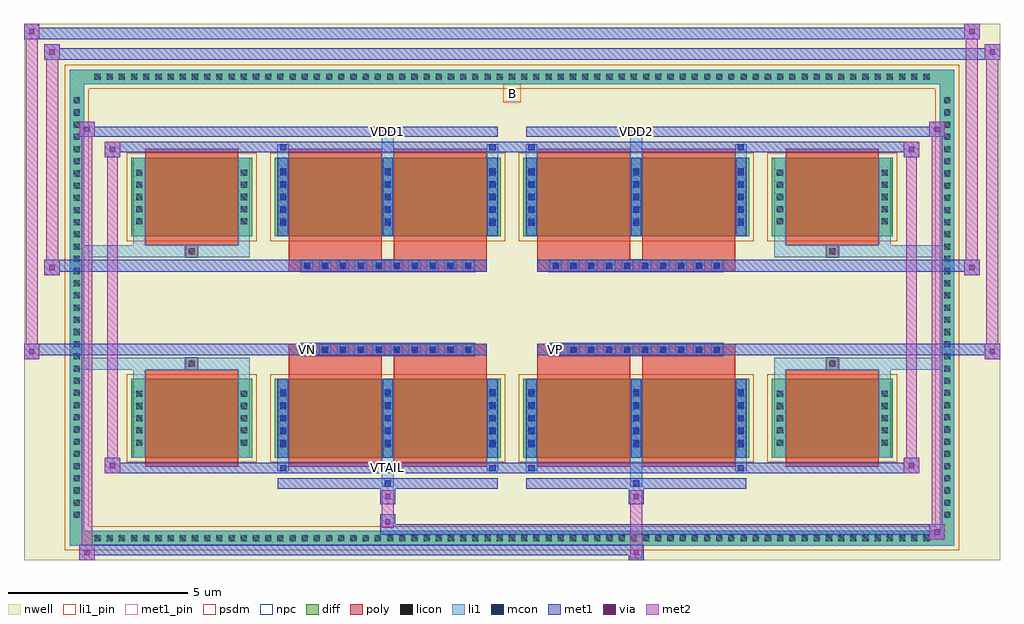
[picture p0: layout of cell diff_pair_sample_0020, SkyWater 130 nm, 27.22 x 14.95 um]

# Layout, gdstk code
import gdstk
lib = gdstk.Library(unit=1e-6, precision=5e-09)
def R(c, l, rs):  # rectangles x0, y0, x1, y1
    for r in rs: c.add(gdstk.rectangle(r[:2], r[2:], *l))
def A(c, l, x, y, w, h, nx, ny, dx, dy):  # array of equal rectangles
    R(c, l, [(x+i*dx, y+j*dy, x+i*dx+w, y+j*dy+h) for i in range(nx) for j in range(ny)])
def P(c, l, *ps):  # polygons
    for p in ps: c.add(gdstk.Polygon(p, *l))
nwell = (64, 20)
diff = (65, 20)
poly = (66, 20)
licon = (66, 44)
li1_pin = (67, 16)
li1 = (67, 20)
mcon = (67, 44)
met1_pin = (68, 16)
met1 = (68, 20)
via = (68, 44)
met2 = (69, 20)
psdm = (94, 20)
npc = (95, 20)

diff_pair_sample_0020 = lib.new_cell('diff_pair_sample_0020')
R(diff_pair_sample_0020, nwell, [(-13.61,-7.04,13.61,7.91), (-10.93,-5.23,-0.01,-0.805), (0.01,-5.23,10.93,-0.805), (-10.93,0.805,-0.01,5.23), (0.01,0.805,10.93,5.23)])
A(diff_pair_sample_0020, diff, -11.765, -6.64, 0.41, 0.41, 69, 2, 0.34, 12.87)
A(diff_pair_sample_0020, diff, -12.34, -5.985, 0.41, 0.41, 1, 35, 0, 0.34)
A(diff_pair_sample_0020, diff, 11.93, -5.985, 0.41, 0.41, 1, 35, 0, 0.34)
R(diff_pair_sample_0020, diff, [(-11.765,-6.64,11.765,-6.23), (-12.34,-5.985,-11.93,5.985), (11.93,-5.985,12.34,5.985), (-10.62,-4.185,-7.25,-1.985), (-6.61,-4.185,-0.32,-1.985), (0.32,-4.185,6.61,-1.985), (7.25,-4.185,10.62,-1.985), (-10.62,1.985,-7.25,4.185), (-6.61,1.985,-0.32,4.185), (0.32,1.985,6.61,4.185), (7.25,1.985,10.62,4.185), (-11.765,6.23,11.765,6.64)])
P(diff_pair_sample_0020, diff, [(12.34,6.64),(-12.34,6.64),(-12.34,-6.23),(-11.93,-6.23),(-11.93,6.23),(11.93,6.23),(11.93,-6.23),(-11.93,-6.23),(-12.34,-6.23),(-12.34,-6.64),(12.34,-6.64)])
A(diff_pair_sample_0020, poly, -5.88, -1.335, 0.33, 0.33, 10, 2, 0.5, 2.34)
A(diff_pair_sample_0020, poly, 1.05, -1.335, 0.33, 0.33, 10, 2, 0.5, 2.34)
R(diff_pair_sample_0020, poly, [(-10.23,-4.435,-7.64,-1.735), (-6.22,-4.435,-3.63,-1.735), (-3.3,-4.435,-0.71,-1.735), (0.71,-4.435,3.3,-1.735), (3.63,-4.435,6.22,-1.735), (7.64,-4.435,10.23,-1.735), (-9.1,-1.735,-8.77,-1.405), (-9.1,-1.735,-8.77,-1.405), (-6.22,-1.735,-3.63,-1.335), (-3.3,-1.735,-0.71,-1.335), (0.71,-1.735,3.3,-1.335), (3.63,-1.735,6.22,-1.335), (8.77,-1.735,9.1,-1.405), (8.77,-1.735,9.1,-1.405), (-6.22,-1.335,-0.71,-1.005), (0.71,-1.335,6.22,-1.005), (-6.22,1.005,-0.71,1.335), (0.71,1.005,6.22,1.335), (-6.22,1.335,-3.63,1.735), (-3.3,1.335,-0.71,1.735), (0.71,1.335,3.3,1.735), (3.63,1.335,6.22,1.735), (-9.1,1.405,-8.77,1.735), (-9.1,1.405,-8.77,1.735), (8.77,1.405,9.1,1.735), (8.77,1.405,9.1,1.735), (-10.23,1.735,-7.64,4.435), (-6.22,1.735,-3.63,4.435), (-3.3,1.735,-0.71,4.435), (0.71,1.735,3.3,4.435), (3.63,1.735,6.22,4.435), (7.64,1.735,10.23,4.435)])
A(diff_pair_sample_0020, licon, -11.645, -6.52, 0.17, 0.17, 69, 2, 0.34, 12.87)
A(diff_pair_sample_0020, licon, -12.22, -5.865, 0.17, 0.17, 1, 35, 0, 0.34)
A(diff_pair_sample_0020, licon, 12.05, -5.865, 0.17, 0.17, 1, 35, 0, 0.34)
A(diff_pair_sample_0020, licon, -10.48, -3.85, 0.17, 0.17, 1, 5, 0, 0.34)
A(diff_pair_sample_0020, licon, -7.56, -3.85, 0.17, 0.17, 1, 5, 0, 0.34)
A(diff_pair_sample_0020, licon, -6.47, -3.85, 0.17, 0.17, 3, 5, 2.92, 0.34)
A(diff_pair_sample_0020, licon, 0.46, -3.85, 0.17, 0.17, 3, 5, 2.92, 0.34)
A(diff_pair_sample_0020, licon, 7.39, -3.85, 0.17, 0.17, 1, 5, 0, 0.34)
A(diff_pair_sample_0020, licon, 10.31, -3.85, 0.17, 0.17, 1, 5, 0, 0.34)
A(diff_pair_sample_0020, licon, -5.8, -1.255, 0.17, 0.17, 10, 2, 0.5, 2.34)
A(diff_pair_sample_0020, licon, 1.13, -1.255, 0.17, 0.17, 10, 2, 0.5, 2.34)
A(diff_pair_sample_0020, licon, -10.48, 2.32, 0.17, 0.17, 1, 5, 0, 0.34)
A(diff_pair_sample_0020, licon, -7.56, 2.32, 0.17, 0.17, 1, 5, 0, 0.34)
A(diff_pair_sample_0020, licon, -6.47, 2.32, 0.17, 0.17, 3, 5, 2.92, 0.34)
A(diff_pair_sample_0020, licon, 0.46, 2.32, 0.17, 0.17, 3, 5, 2.92, 0.34)
A(diff_pair_sample_0020, licon, 7.39, 2.32, 0.17, 0.17, 1, 5, 0, 0.34)
A(diff_pair_sample_0020, licon, 10.31, 2.32, 0.17, 0.17, 1, 5, 0, 0.34)
R(diff_pair_sample_0020, licon, [(-9.02,-1.655,-8.85,-1.485), (8.85,-1.655,9.02,-1.485), (-9.02,1.485,-8.85,1.655), (8.85,1.485,9.02,1.655)])
R(diff_pair_sample_0020, li1_pin, [(-0.25,5.73,0.25,6.23)])
A(diff_pair_sample_0020, li1, -11.725, -6.6, 0.33, 0.33, 69, 2, 0.34, 12.87)
A(diff_pair_sample_0020, li1, -12.3, -5.945, 0.33, 0.33, 1, 35, 0, 0.34)
A(diff_pair_sample_0020, li1, 11.97, -5.945, 0.33, 0.33, 1, 35, 0, 0.34)
A(diff_pair_sample_0020, li1, -6.55, -4.185, 0.33, 2.2, 3, 2, 2.92, 6.17)
A(diff_pair_sample_0020, li1, 0.38, -4.185, 0.33, 2.2, 3, 2, 2.92, 6.17)
A(diff_pair_sample_0020, li1, -10.56, -3.93, 0.33, 0.33, 1, 5, 0, 0.34)
A(diff_pair_sample_0020, li1, -7.64, -3.93, 0.33, 0.33, 1, 5, 0, 0.34)
A(diff_pair_sample_0020, li1, -6.55, -3.93, 0.33, 0.33, 3, 5, 2.92, 0.34)
A(diff_pair_sample_0020, li1, 0.38, -3.93, 0.33, 0.33, 3, 5, 2.92, 0.34)
A(diff_pair_sample_0020, li1, 7.31, -3.93, 0.33, 0.33, 1, 5, 0, 0.34)
A(diff_pair_sample_0020, li1, 10.23, -3.93, 0.33, 0.33, 1, 5, 0, 0.34)
A(diff_pair_sample_0020, li1, -6.47, -3.89, 0.17, 0.17, 3, 5, 2.92, 0.36)
A(diff_pair_sample_0020, li1, -6.47, -3.89, 0.17, 1.61, 3, 2, 2.92, 6.17)
A(diff_pair_sample_0020, li1, 0.46, -3.89, 0.17, 0.17, 3, 5, 2.92, 0.36)
A(diff_pair_sample_0020, li1, 0.46, -3.89, 0.17, 1.61, 3, 2, 2.92, 6.17)
A(diff_pair_sample_0020, li1, -5.88, -1.335, 0.33, 0.33, 10, 2, 0.5, 2.34)
A(diff_pair_sample_0020, li1, 1.05, -1.335, 0.33, 0.33, 10, 2, 0.5, 2.34)
A(diff_pair_sample_0020, li1, -10.56, 2.24, 0.33, 0.33, 1, 5, 0, 0.34)
A(diff_pair_sample_0020, li1, -7.64, 2.24, 0.33, 0.33, 1, 5, 0, 0.34)
A(diff_pair_sample_0020, li1, -6.55, 2.24, 0.33, 0.33, 3, 5, 2.92, 0.34)
A(diff_pair_sample_0020, li1, 0.38, 2.24, 0.33, 0.33, 3, 5, 2.92, 0.34)
A(diff_pair_sample_0020, li1, 7.31, 2.24, 0.33, 0.33, 1, 5, 0, 0.34)
A(diff_pair_sample_0020, li1, 10.23, 2.24, 0.33, 0.33, 1, 5, 0, 0.34)
A(diff_pair_sample_0020, li1, -6.47, 2.28, 0.17, 0.17, 3, 5, 2.92, 0.36)
A(diff_pair_sample_0020, li1, 0.46, 2.28, 0.17, 0.17, 3, 5, 2.92, 0.36)
R(diff_pair_sample_0020, li1, [(-12.34,-6.64,-11.93,-6.23), (-12.34,-6.64,-11.93,-6.23), (-11.93,-6.64,11.93,-6.23), (11.93,-6.64,12.34,-6.23), (11.93,-6.64,12.34,-6.23), (-12.34,-6.23,-11.93,6.23), (11.93,-6.23,12.34,6.23), (-3.63,-4.99,-3.3,-4.185), (-3.55,-4.99,-3.38,-4.82), (3.3,-4.99,3.63,-4.185), (3.38,-4.99,3.55,-4.82), (-6.55,-4.56,-6.22,-4.185), (-6.47,-4.56,-6.3,-4.39), (-0.71,-4.56,-0.38,-4.185), (-0.63,-4.56,-0.46,-4.39), (0.38,-4.56,0.71,-4.185), (0.46,-4.56,0.63,-4.39), (6.22,-4.56,6.55,-4.185), (6.3,-4.56,6.47,-4.39), (-10.56,-4.185,-10.23,-1.985), (-7.64,-4.185,-7.31,-1.985), (7.31,-4.185,7.64,-1.985), (10.23,-4.185,10.56,-1.985), (-10.56,-1.985,-10.23,-1.405), (-7.64,-1.985,-7.31,-1.405), (7.31,-1.985,7.64,-1.405), (10.23,-1.985,10.56,-1.405), (-12.34,-1.735,-9.1,-1.405), (-10.56,-1.735,-9.1,-1.405), (-9.1,-1.735,-8.77,-1.405), (-8.77,-1.735,-7.31,-1.405), (7.31,-1.735,8.77,-1.405), (8.77,-1.735,9.1,-1.405), (8.77,-1.735,12.34,-1.405), (9.1,-1.735,10.56,-1.405), (-12.34,1.405,-9.1,1.735), (-10.56,1.405,-9.1,1.735), (-10.56,1.405,-10.23,1.985), (-9.1,1.405,-8.77,1.735), (-8.77,1.405,-7.31,1.735), (-7.64,1.405,-7.31,1.985), (7.31,1.405,8.77,1.735), (7.31,1.405,7.64,1.985), (8.77,1.405,9.1,1.735), (8.77,1.405,12.34,1.735), (9.1,1.405,10.56,1.735), (10.23,1.405,10.56,1.985), (-10.56,1.985,-10.23,4.185), (-7.64,1.985,-7.31,4.185), (7.31,1.985,7.64,4.185), (10.23,1.985,10.56,4.185), (-6.55,4.185,-6.22,4.56), (-3.63,4.185,-3.3,4.99), (-0.71,4.185,-0.38,4.56), (0.38,4.185,0.71,4.56), (3.3,4.185,3.63,4.99), (6.22,4.185,6.55,4.56), (-6.47,4.39,-6.3,4.56), (-0.63,4.39,-0.46,4.56), (0.46,4.39,0.63,4.56), (6.3,4.39,6.47,4.56), (-3.55,4.82,-3.38,4.99), (3.38,4.82,3.55,4.99), (-12.34,6.23,-11.93,6.64), (-12.34,6.23,-11.93,6.64), (-11.93,6.23,11.93,6.64), (11.93,6.23,12.34,6.64), (11.93,6.23,12.34,6.64)])
A(diff_pair_sample_0020, mcon, -6.47, -3.89, 0.17, 0.17, 3, 5, 2.92, 0.36)
A(diff_pair_sample_0020, mcon, 0.46, -3.89, 0.17, 0.17, 3, 5, 2.92, 0.36)
A(diff_pair_sample_0020, mcon, -5.8, -1.255, 0.17, 0.17, 10, 2, 0.5, 2.34)
A(diff_pair_sample_0020, mcon, 1.13, -1.255, 0.17, 0.17, 10, 2, 0.5, 2.34)
A(diff_pair_sample_0020, mcon, -6.47, 2.28, 0.17, 0.17, 3, 5, 2.92, 0.36)
A(diff_pair_sample_0020, mcon, 0.46, 2.28, 0.17, 0.17, 3, 5, 2.92, 0.36)
R(diff_pair_sample_0020, mcon, [(-3.55,-4.99,-3.38,-4.82), (3.38,-4.99,3.55,-4.82), (-6.47,-4.56,-6.3,-4.39), (-0.63,-4.56,-0.46,-4.39), (0.46,-4.56,0.63,-4.39), (6.3,-4.56,6.47,-4.39), (-6.47,4.39,-6.3,4.56), (-0.63,4.39,-0.46,4.56), (0.46,4.39,0.63,4.56), (6.3,4.39,6.47,4.56), (-3.55,4.82,-3.38,4.99), (3.38,4.82,3.55,4.99)])
R(diff_pair_sample_0020, met1_pin, [(-3.6,-4.6,-3.33,-4.33), (-5.85,-1.295,-5.58,-1.025), (1.08,-1.295,1.35,-1.025), (-3.6,4.78,-3.33,5.05), (3.33,4.78,3.6,5.05)])
A(diff_pair_sample_0020, met1, -6.53, -4.185, 0.29, 2.2, 3, 2, 2.92, 6.17)
A(diff_pair_sample_0020, met1, 0.4, -4.185, 0.29, 2.2, 3, 2, 2.92, 6.17)
A(diff_pair_sample_0020, met1, -6.53, -3.95, 0.29, 0.29, 3, 5, 2.92, 0.36)
A(diff_pair_sample_0020, met1, 0.4, -3.95, 0.29, 0.29, 3, 5, 2.92, 0.36)
A(diff_pair_sample_0020, met1, -5.86, -1.315, 0.29, 0.29, 10, 2, 0.5, 2.34)
A(diff_pair_sample_0020, met1, 1.07, -1.315, 0.29, 0.29, 10, 2, 0.5, 2.34)
A(diff_pair_sample_0020, met1, -6.53, 2.22, 0.29, 0.29, 3, 5, 2.92, 0.36)
A(diff_pair_sample_0020, met1, 0.4, 2.22, 0.29, 0.29, 3, 5, 2.92, 0.36)
R(diff_pair_sample_0020, met1, [(-12.07,-7.04,-11.64,-6.61), (3.25,-7.04,3.68,-6.61), (-12.07,-6.9,3.68,-6.61), (11.64,-6.47,12.07,-6.04), (-3.68,-6.33,12.07,-6.04), (-3.68,-6.19,-3.25,-5.76), (-3.68,-5.48,-3.25,-5.05), (3.25,-5.48,3.68,-5.05), (-6.53,-5.05,-0.4,-4.76), (-3.61,-5.05,-3.32,-4.76), (0.4,-5.05,6.53,-4.76), (3.32,-5.05,3.61,-4.76), (-11.36,-4.62,-10.93,-4.19), (-11.36,-4.62,-6.53,-4.33), (-6.53,-4.62,-6.24,-4.33), (-6.53,-4.62,-0.4,-4.33), (-0.69,-4.62,-0.4,-4.33), (-0.4,-4.62,0.4,-4.33), (0.4,-4.62,0.69,-4.33), (0.4,-4.62,6.53,-4.33), (6.24,-4.62,6.53,-4.33), (6.53,-4.62,11.36,-4.33), (10.93,-4.62,11.36,-4.19), (-13.61,-1.435,-13.18,-1.005), (13.18,-1.435,13.61,-1.005), (-13.61,-1.335,-0.71,-1.005), (-6.22,-1.335,-0.71,-1.005), (0.71,-1.335,6.22,-1.005), (0.71,-1.335,13.61,-1.005), (-13.04,0.905,-12.61,1.335), (12.61,0.905,13.04,1.335), (-13.04,1.005,-6.22,1.335), (-6.22,1.005,-0.71,1.335), (0.71,1.005,6.22,1.335), (6.22,1.005,13.04,1.335), (-11.36,4.19,-10.93,4.62), (10.93,4.19,11.36,4.62), (-11.36,4.33,-6.53,4.62), (-6.53,4.33,-6.24,4.62), (-6.53,4.33,-0.4,4.62), (-0.69,4.33,-0.4,4.62), (-0.4,4.33,0.4,4.62), (0.4,4.33,0.69,4.62), (0.4,4.33,6.53,4.62), (6.24,4.33,6.53,4.62), (6.53,4.33,11.36,4.62), (-12.07,4.76,-11.64,5.19), (-12.07,4.76,-6.53,5.05), (-6.53,4.76,-0.4,5.05), (-3.61,4.76,-3.32,5.05), (0.4,4.76,6.53,5.05), (3.32,4.76,3.61,5.05), (6.53,4.76,12.07,5.05), (11.64,4.76,12.07,5.19), (-13.04,6.91,-12.61,7.34), (-13.04,6.91,-10.93,7.24), (-10.93,6.91,10.93,7.24), (10.93,6.91,13.61,7.24), (13.18,6.91,13.61,7.34), (-13.61,7.48,-13.18,7.91), (-13.61,7.48,-10.93,7.81), (-10.93,7.48,10.93,7.81), (10.93,7.48,13.04,7.81), (12.61,7.48,13.04,7.91)])
R(diff_pair_sample_0020, via, [(-11.93,-6.9,-11.78,-6.75), (3.39,-6.9,3.54,-6.75), (11.78,-6.33,11.93,-6.18), (-3.54,-6.05,-3.39,-5.9), (-3.54,-5.34,-3.39,-5.19), (3.39,-5.34,3.54,-5.19), (-11.22,-4.48,-11.07,-4.33), (11.07,-4.48,11.22,-4.33), (-13.47,-1.295,-13.32,-1.145), (13.32,-1.295,13.47,-1.145), (-12.9,1.045,-12.75,1.195), (12.75,1.045,12.9,1.195), (-11.22,4.33,-11.07,4.48), (11.07,4.33,11.22,4.48), (-11.93,4.9,-11.78,5.05), (11.78,4.9,11.93,5.05), (-12.9,7.05,-12.75,7.2), (13.32,7.05,13.47,7.2), (-13.47,7.62,-13.32,7.77), (12.75,7.62,12.9,7.77)])
R(diff_pair_sample_0020, met2, [(-12.07,-7.04,-11.64,-6.61), (-12,-7.04,-11.71,5.19), (-11.71,-7.04,-11.64,-6.61), (-12.02,-6.99,-11.69,-6.66), (3.3,-6.99,3.63,-6.66), (3.3,-6.66,3.63,-5.43), (11.64,-6.47,12.07,-6.04), (11.71,-6.47,12,5.19), (12,-6.47,12.07,-6.04), (11.69,-6.42,12.02,-6.09), (-3.63,-6.14,-3.3,-5.81), (-3.63,-5.81,-3.3,-5.43), (-3.63,-5.43,-3.3,-5.1), (3.3,-5.43,3.63,-5.1), (-11.36,-4.62,-10.93,-4.19), (-11.29,-4.62,-11,4.62), (-11,-4.62,-10.93,-4.19), (10.93,-4.62,11.36,-4.19), (11,-4.62,11.29,4.62), (11.29,-4.62,11.36,-4.19), (-11.31,-4.57,-10.98,-4.24), (10.98,-4.57,11.31,-4.24), (-13.61,-1.435,-13.18,-1.005), (-13.56,-1.435,-13.23,7.91), (-13.23,-1.435,-13.18,-1.005), (13.18,-1.435,13.61,-1.005), (13.23,-1.435,13.56,7.34), (13.56,-1.435,13.61,-1.005), (-13.56,-1.385,-13.23,-1.055), (13.23,-1.385,13.56,-1.055), (-13.04,0.905,-12.61,1.335), (-12.99,0.905,-12.66,7.34), (-12.66,0.905,-12.61,1.335), (12.61,0.905,13.04,1.335), (12.66,0.905,12.99,7.91), (12.99,0.905,13.04,1.335), (-12.99,0.955,-12.66,1.285), (12.66,0.955,12.99,1.285), (-11.36,4.19,-10.93,4.62), (-11,4.19,-10.93,4.62), (10.93,4.19,11.36,4.62), (11.29,4.19,11.36,4.62), (-11.31,4.24,-10.98,4.57), (10.98,4.24,11.31,4.57), (-12.07,4.76,-11.64,5.19), (-11.71,4.76,-11.64,5.19), (11.64,4.76,12.07,5.19), (12,4.76,12.07,5.19), (-12.02,4.81,-11.69,5.14), (11.69,4.81,12.02,5.14), (-13.04,6.91,-12.61,7.34), (-12.66,6.91,-12.61,7.34), (13.18,6.91,13.61,7.34), (13.56,6.91,13.61,7.34), (-12.99,6.96,-12.66,7.29), (13.23,6.96,13.56,7.29), (-13.61,7.48,-13.18,7.91), (-13.23,7.48,-13.18,7.91), (12.61,7.48,13.04,7.91), (12.99,7.48,13.04,7.91), (-13.56,7.53,-13.23,7.86), (12.66,7.53,12.99,7.86)])
R(diff_pair_sample_0020, psdm, [(-10.75,-4.315,-7.12,-1.855), (-6.74,-4.315,-0.19,-1.855), (0.19,-4.315,6.74,-1.855), (7.12,-4.315,10.75,-1.855), (-10.75,1.855,-7.12,4.315), (-6.74,1.855,-0.19,4.315), (0.19,1.855,6.74,4.315), (7.12,1.855,10.75,4.315)])
P(diff_pair_sample_0020, psdm, [(12.47,6.77),(-12.47,6.77),(-12.47,-6.1),(-11.8,-6.1),(-11.8,6.1),(11.8,6.1),(11.8,-6.1),(-11.8,-6.1),(-12.47,-6.1),(-12.47,-6.77),(12.47,-6.77)])
A(diff_pair_sample_0020, npc, -5.9, -1.355, 0.37, 0.37, 10, 2, 0.5, 2.34)
A(diff_pair_sample_0020, npc, 1.03, -1.355, 0.37, 0.37, 10, 2, 0.5, 2.34)
R(diff_pair_sample_0020, npc, [(-9.12,-1.755,-8.75,-1.385), (8.75,-1.755,9.12,-1.385), (-5.9,-1.355,-5.03,-0.985), (-5.9,-1.355,-5.03,-0.985), (-5.4,-1.355,-4.53,-0.985), (-5.4,-1.355,-4.53,-0.985), (-4.9,-1.355,-4.03,-0.985), (-4.9,-1.355,-4.03,-0.985), (-4.4,-1.355,-3.53,-0.985), (-4.4,-1.355,-3.53,-0.985), (-3.9,-1.355,-3.03,-0.985), (-3.9,-1.355,-3.03,-0.985), (-3.4,-1.355,-2.53,-0.985), (-3.4,-1.355,-2.53,-0.985), (-2.9,-1.355,-2.03,-0.985), (-2.9,-1.355,-2.03,-0.985), (-2.4,-1.355,-1.53,-0.985), (-2.4,-1.355,-1.53,-0.985), (-1.9,-1.355,-1.03,-0.985), (-1.9,-1.355,-1.03,-0.985), (1.03,-1.355,1.9,-0.985), (1.03,-1.355,1.9,-0.985), (1.53,-1.355,2.4,-0.985), (1.53,-1.355,2.4,-0.985), (2.03,-1.355,2.9,-0.985), (2.03,-1.355,2.9,-0.985), (2.53,-1.355,3.4,-0.985), (2.53,-1.355,3.4,-0.985), (3.03,-1.355,3.9,-0.985), (3.03,-1.355,3.9,-0.985), (3.53,-1.355,4.4,-0.985), (3.53,-1.355,4.4,-0.985), (4.03,-1.355,4.9,-0.985), (4.03,-1.355,4.9,-0.985), (4.53,-1.355,5.4,-0.985), (4.53,-1.355,5.4,-0.985), (5.03,-1.355,5.9,-0.985), (5.03,-1.355,5.9,-0.985), (-5.9,0.985,-5.03,1.355), (-5.9,0.985,-5.03,1.355), (-5.4,0.985,-4.53,1.355), (-5.4,0.985,-4.53,1.355), (-4.9,0.985,-4.03,1.355), (-4.9,0.985,-4.03,1.355), (-4.4,0.985,-3.53,1.355), (-4.4,0.985,-3.53,1.355), (-3.9,0.985,-3.03,1.355), (-3.9,0.985,-3.03,1.355), (-3.4,0.985,-2.53,1.355), (-3.4,0.985,-2.53,1.355), (-2.9,0.985,-2.03,1.355), (-2.9,0.985,-2.03,1.355), (-2.4,0.985,-1.53,1.355), (-2.4,0.985,-1.53,1.355), (-1.9,0.985,-1.03,1.355), (-1.9,0.985,-1.03,1.355), (1.03,0.985,1.9,1.355), (1.03,0.985,1.9,1.355), (1.53,0.985,2.4,1.355), (1.53,0.985,2.4,1.355), (2.03,0.985,2.9,1.355), (2.03,0.985,2.9,1.355), (2.53,0.985,3.4,1.355), (2.53,0.985,3.4,1.355), (3.03,0.985,3.9,1.355), (3.03,0.985,3.9,1.355), (3.53,0.985,4.4,1.355), (3.53,0.985,4.4,1.355), (4.03,0.985,4.9,1.355), (4.03,0.985,4.9,1.355), (4.53,0.985,5.4,1.355), (4.53,0.985,5.4,1.355), (5.03,0.985,5.9,1.355), (5.03,0.985,5.9,1.355), (-9.12,1.385,-8.75,1.755), (8.75,1.385,9.12,1.755)])
diff_pair_sample_0020.add(gdstk.Label('VTAIL', (-3.465,-4.465), layer=68, texttype=5))
diff_pair_sample_0020.add(gdstk.Label('VN', (-5.715,-1.16), layer=68, texttype=5))
diff_pair_sample_0020.add(gdstk.Label('VP', (1.215,-1.16), layer=68, texttype=5))
diff_pair_sample_0020.add(gdstk.Label('B', (0,5.98), layer=67, texttype=5))
diff_pair_sample_0020.add(gdstk.Label('VDD2', (3.465,4.915), layer=68, texttype=5))
diff_pair_sample_0020.add(gdstk.Label('VDD1', (-3.465,4.915), layer=68, texttype=5))

lib.write_gds('diff_pair_sample_0020.gds')
